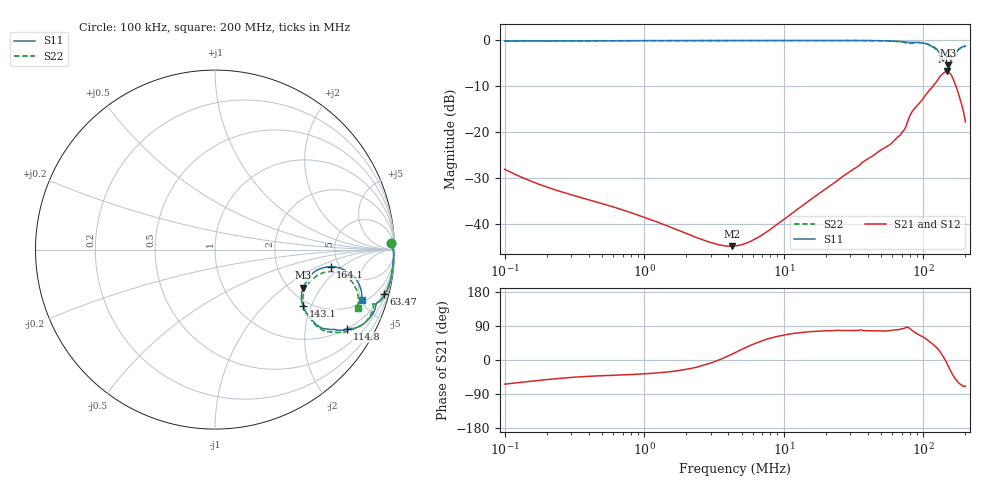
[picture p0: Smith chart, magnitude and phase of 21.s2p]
#  HZ  S  RI  R  50.00
! Rohde & Schwarz Vector Network Analyzer
! Rohde-Schwarz,ZNLE6-2Port,1323001256200024,1.71.1.10-23.02.1.238
! Created: UTC 4/7/2025, 7:07:24 AM
! freq[Hz]  re:S11  im:S11  re:S21  im:S21  re:S12  im:S12  re:S22  im:S22
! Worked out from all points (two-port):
!   1001 points, 100 kHz to 200 MHz, reference 50 ohm
!   highest |S21| = -6.74 dB at 146.4 MHz (marker M1); lowest = -44.9 dB at 4.24 MHz (marker M2)
!   |S21| within 3 dB of the highest: 118.8 MHz to 169.8 MHz (51.01 MHz wide, 35.3 % of centre)
!   lowest |S11| = -5.4 dB at 149.8 MHz (marker M3), VSWR 3.30, Z = 117 - j69.7 ohm
!   |S11| at or under -10 dB: nowhere
!   |S22| runs from -5.2 to 0.0 dB; largest |S21 - S12| = 0.013
!   S11 on the Smith chart (normalised r, x): 100 kHz: 22, +46; 63.47 MHz: 0.79, -7.64; 114.8 MHz: 0.99, -3.33; 143.1 MHz: 1.85, -1.75; 164.1 MHz: 4.25, -1.40; 200 MHz: 2.22, -5.03
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100000  0.9829 0.0347  0.0174 -0.0351  0.0174 -0.0352  0.9829 0.0348
355854.1  0.9863 0.0124  0.0138 -0.0133  0.0138 -0.0134  0.9865 0.0124
1266322  0.9915 0.00257  0.00854 -0.00573  0.00856 -0.00575  0.9915 0.00227
3012045  0.9937 -0.0068  0.00615 -0.000843  0.00613 -0.000905  0.9943 -0.00682
4240409  0.9943 -0.0121  0.00548 0.00147  0.00548 0.00141  0.9955 -0.0115
4472136  0.9944 -0.0132  0.00539 0.00188  0.0054 0.0018  0.9954 -0.0127
6897214  0.9949 -0.023  0.0048 0.00567  0.00486 0.00561  0.9954 -0.0233
1.591428e7  0.9941 -0.0581  0.00491 0.0181  0.0051 0.018  0.9945 -0.0602
3.616581e7  0.984 -0.1362  0.00908 0.0452  0.0104 0.0448  0.9836 -0.1401
5.663162e7  0.9584 -0.2249  0.0158 0.0698  0.0178 0.0689  0.9573 -0.2324
6.347087e7  0.9418 -0.248  0.0152 0.0829  0.0161 0.0826  0.9382 -0.2647
7.222574e7  0.9217 -0.2838  0.0124 0.1026  0.0156 0.102  0.9009 -0.3
8.03353e7  0.8989 -0.301  0.0196 0.1508  0.0248 0.1502  0.8751 -0.2947
9.641201e7  0.8641 -0.3787  0.097 0.1949  0.103 0.193  0.8615 -0.3745
1.148299e8  0.7349 -0.4427  0.2184 0.2102  0.2235 0.2062  0.7479 -0.4504
1.296795e8  0.5959 -0.4373  0.3538 0.1683  0.3557 0.1619  0.6036 -0.4505
1.431478e8  0.4908 -0.3129  0.4513 0.00567  0.4481 -0.000987  0.4973 -0.3189
1.464495e8  0.4807 -0.2635  0.4572 -0.0528  0.4534 -0.0592  0.4897 -0.2677
1.498273e8  0.4908 -0.2121  0.4426 -0.113  0.4379 -0.1193  0.5025 -0.2156
1.641358e8  0.6439 -0.0948  0.2763 -0.2506  0.2661 -0.2585  0.6558 -0.1223
1.811826e8  0.788 -0.1688  0.1132 -0.2139  0.1054 -0.2182  0.7815 -0.2087
2e8  0.8195 -0.282  0.046 -0.12  0.0431 -0.1228  0.7941 -0.3271
